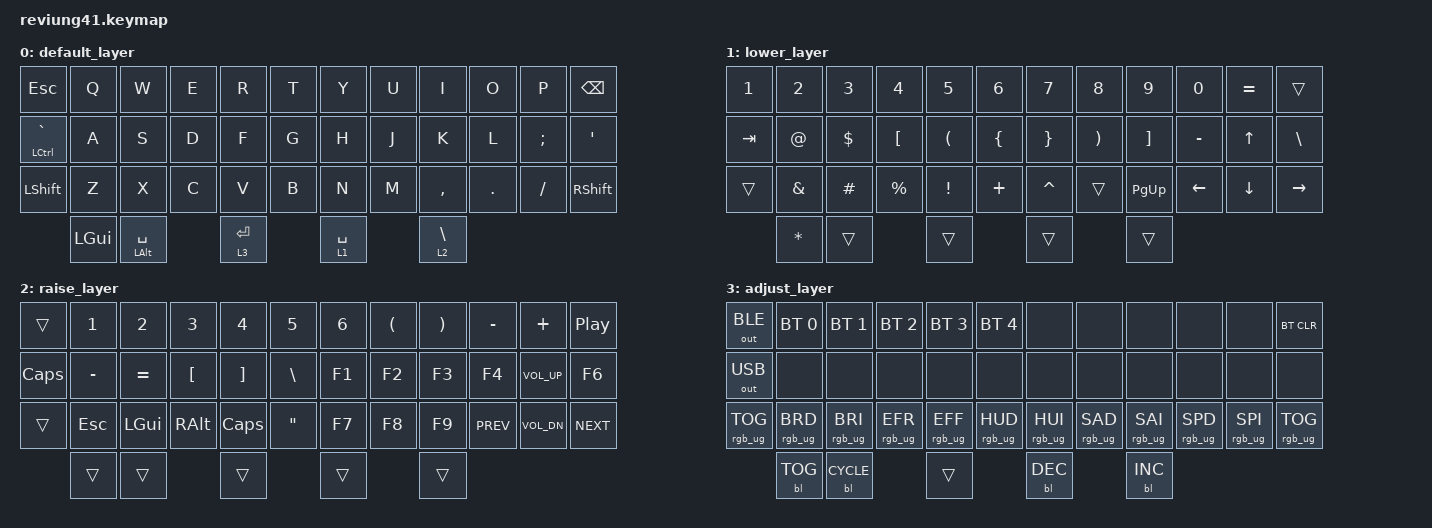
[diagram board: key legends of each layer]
/*
 * Copyright (c) 2020 The ZMK Contributors
 *
 * SPDX-License-Identifier: MIT
 */

#include <behaviors.dtsi>
#include <dt-bindings/zmk/keys.h>
#include <dt-bindings/zmk/bt.h>
#include <dt-bindings/zmk/rgb.h>
#include <dt-bindings/zmk/outputs.h>
#include <dt-bindings/zmk/backlight.h>
#include <dt-bindings/zmk/rgb.h>

&led_strip {
    chain-length = <11>;
};

/ {
        keymap {
                compatible = "zmk,keymap";

                default_layer {
// -------------------------------------------------------------------------------------
// |  ESC         |  Q  |  W  |  E  |  R  |  T  |   |  Y  |  U   |  I      |  O    |  P     |  BKSP       |
// |  CTRL(`)     |  A  |  S  |  D  |  F  |  G  |   |  H  |  J   |  K      |  L    |  ;     |  '          |
// |  SHFT(TAB)   |  Z  |  X  |  C  |  V  |  B  |   |  N  |  M   |  ,      |  .    |  /     |  SHFT(RET)  |
//                         |  ALT       |  LWR (Space)     |  ENTR     |  RSE (Space)   |  ALT     |
                        bindings = <
   &kp ESC         &kp Q &kp W &kp E &kp R &kp T    &kp Y &kp U  &kp I     &kp O   &kp P    &kp BSPC
   &mt LCTRL GRAVE &kp A &kp S &kp D &kp F &kp G    &kp H &kp J  &kp K     &kp L   &kp SEMI &kp SQT
   &kp LSHFT    &kp Z &kp X &kp C &kp V &kp B    &kp N &kp M  &kp COMMA &kp DOT &kp FSLH &kp RSHFT
                &kp LGUI &mt LALT SPACE &lt 3 RET &lt 1 SPACE &lt 2 BSLH
                        >;
                };

                lower_layer {
// ----------------------------------------------------------------------------------
// |     |  1      |  2        |  3     |  4     |  5     |  |  6     |  -      |  +      |  (      |  )     |  BSLH      |
// |     |  _      |  +        |  {     |  }     | `|`    |  |  LFT   |  DWN    |  UP     |  RGT    |  `     |  RET       |
// |     |  ESC    |  GUI      |  ALT   |  CAPS  |  "     |  |  HOME  |  END    |  PGUP   |  PGDN   |  PRSC  |  SHFT(RET) |
//                                     |      |     |  SPC    |      |      |
                        bindings = <
   &kp N1  &kp N2   &kp N3   &kp N4    &kp N5   &kp N6      &kp N7    &kp N8   &kp N9    &kp N0    &kp EQUAL &trans
   &kp TAB &kp AT   &kp DLLR &kp LBKT  &kp LPAR &kp LBRC    &kp RBRC  &kp RPAR &kp RBKT  &kp MINUS &kp UP    &kp BSLH
   &trans  &kp AMPS &kp HASH &kp PRCNT &kp EXCL &kp PLUS    &kp CARET &trans   &kp PG_UP &kp LEFT  &kp DOWN  &kp RIGHT
                                     &kp STAR &trans &trans &trans &trans
                        >;
                };

                raise_layer {
// -----------------------------------------------------------------------------------------
// |     | 1       | 2       | 3       | 4       | 5      |  | 6    | 7    | 8    | 9        | 0          | PLAY/PAUSE     |
// |     |  -      |  =      |  [      |  ]      |  \     |  | F1   | F2   | F3   | F4       | VOL UP     | F6             |
// |     | ESC     | GUI     | ALT     | CAPS    |  "     |  | F7   | F8   | F9   | F10      | VOL DOWN   | NEXT           |
//                       |     | ADJ | BKSP |    |     |
                        bindings = <
   &trans   &kp N1    &kp N2    &kp N3    &kp N4    &kp N5      &kp N6 &kp LPAR &kp RPAR &kp MINUS  &kp PLUS     &kp C_PLAY_PAUSE
   &kp CLCK &kp MINUS &kp EQUAL &kp LBKT  &kp RBKT  &kp BSLH    &kp F1 &kp F2   &kp F3   &kp F4     &kp C_VOL_UP &kp F6
   &trans   &kp ESC   &kp LGUI  &kp RALT  &kp CLCK  &kp DQT     &kp F7 &kp F8   &kp F9   &kp C_PREV &kp C_VOL_DN &kp C_NEXT
                                            &trans &trans &trans &trans &trans
                        >;
                };

                adjust_layer {
// -----------------------------------------------------------------------------------------
// | RGB BRI+ | RGB SAT+ | RGB HUE+ | RGB ANI+ |    | RGB TOG |   |  BT1  | BT2 | BT3 | BT4 | BT5 | BT CLR |
// | RGB BRI- | RGB SAT- | RGB HUE- | RGB ANI- |    |         |   |       |     |     |     |     |        |
// |          |          |          |          |    |         |   | RESET |     |     |     |     |        |
//                                              |     |     |     |     |     |
                        bindings = <
   &out OUT_BLE &bt BT_SEL 0 &bt BT_SEL 1 &bt BT_SEL 2 &bt BT_SEL 3 &bt BT_SEL 4 &none &none &none &none &none &bt BT_CLR
   &out OUT_USB &none &none &none &none &none &none &none &none &none &none &none
   &rgb_ug RGB_TOG &rgb_ug RGB_BRD &rgb_ug RGB_BRI &rgb_ug RGB_EFR &rgb_ug RGB_EFF &rgb_ug RGB_HUD &rgb_ug RGB_HUI &rgb_ug RGB_SAD &rgb_ug RGB_SAI &rgb_ug RGB_SPD &rgb_ug RGB_SPI &rgb_ug RGB_TOG
   &bl BL_TOG &bl BL_CYCLE &trans &bl BL_DEC &bl BL_INC
                        >;
                };
        };
};
